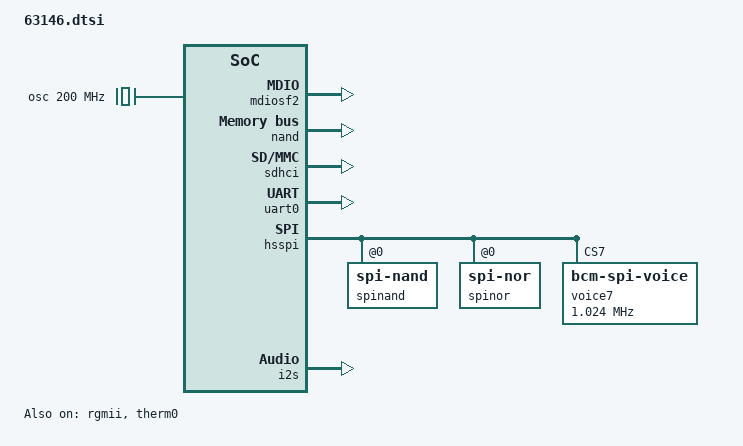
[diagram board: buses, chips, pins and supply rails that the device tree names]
/dts-v1/;

#include "linux_autoconf.h"

/* bootstrap reserved memory */
#include "../boot_rsvdmem.dtsi"

/ {
	/* arch */
	#define PMU_CORE0_SPI	7
	#define PMU_CORE1_SPI	8
	#include "../ip/bcm_b53_dual.dtsi"

	/* clocks */
	#define PERIPH_CLK		200000000
	#define HS_SPI_PLL_CLK	200000000
	#include "../ip/bcm_clocks.dtsi"

	rdpa_drv {
		compatible = "brcm,rdpa";
		reg = <0x0 0x82000000 0x0 0xCAF004>;
                interrupts = <GIC_SPI 107 IRQ_TYPE_LEVEL_HIGH>, /* INTERRUPT_XRDP_FPM */
                             <GIC_SPI 75  IRQ_TYPE_LEVEL_HIGH>, /* INTERRUPT_XRDP_QUEUE_0 */
                             <GIC_SPI 76  IRQ_TYPE_LEVEL_HIGH>, /* INTERRUPT_XRDP_QUEUE_1 */
                             <GIC_SPI 77  IRQ_TYPE_LEVEL_HIGH>, /* INTERRUPT_XRDP_QUEUE_2 */
                             <GIC_SPI 78  IRQ_TYPE_LEVEL_HIGH>, /* INTERRUPT_XRDP_QUEUE_3 */
                             <GIC_SPI 79  IRQ_TYPE_LEVEL_HIGH>, /* INTERRUPT_XRDP_QUEUE_4 */
                             <GIC_SPI 80  IRQ_TYPE_LEVEL_HIGH>, /* INTERRUPT_XRDP_QUEUE_5 */
                             <GIC_SPI 81  IRQ_TYPE_LEVEL_HIGH>, /* INTERRUPT_XRDP_QUEUE_6 */
                             <GIC_SPI 82  IRQ_TYPE_LEVEL_HIGH>, /* INTERRUPT_XRDP_QUEUE_7 */
                             <GIC_SPI 83  IRQ_TYPE_LEVEL_HIGH>, /* INTERRUPT_XRDP_QUEUE_8 */
                             <GIC_SPI 84  IRQ_TYPE_LEVEL_HIGH>, /* INTERRUPT_XRDP_QUEUE_9 */
                             <GIC_SPI 85  IRQ_TYPE_LEVEL_HIGH>, /* INTERRUPT_XRDP_QUEUE_10 */
                             <GIC_SPI 86  IRQ_TYPE_LEVEL_HIGH>, /* INTERRUPT_XRDP_QUEUE_11 */
                             <GIC_SPI 87  IRQ_TYPE_LEVEL_HIGH>, /* INTERRUPT_XRDP_QUEUE_12 */
                             <GIC_SPI 88  IRQ_TYPE_LEVEL_HIGH>, /* INTERRUPT_XRDP_QUEUE_13 */
                             <GIC_SPI 89  IRQ_TYPE_LEVEL_HIGH>, /* INTERRUPT_XRDP_QUEUE_14 */
                             <GIC_SPI 90  IRQ_TYPE_LEVEL_HIGH>, /* INTERRUPT_XRDP_QUEUE_15 */
                             <GIC_SPI 91  IRQ_TYPE_LEVEL_HIGH>, /* INTERRUPT_XRDP_QUEUE_16 */
                             <GIC_SPI 92  IRQ_TYPE_LEVEL_HIGH>, /* INTERRUPT_XRDP_QUEUE_17 */
                             <GIC_SPI 93  IRQ_TYPE_LEVEL_HIGH>, /* INTERRUPT_XRDP_QUEUE_18 */
                             <GIC_SPI 94  IRQ_TYPE_LEVEL_HIGH>, /* INTERRUPT_XRDP_QUEUE_19 */
                             <GIC_SPI 95  IRQ_TYPE_LEVEL_HIGH>, /* INTERRUPT_XRDP_QUEUE_20 */
                             <GIC_SPI 96  IRQ_TYPE_LEVEL_HIGH>, /* INTERRUPT_XRDP_QUEUE_21 */
                             <GIC_SPI 97  IRQ_TYPE_LEVEL_HIGH>, /* INTERRUPT_XRDP_QUEUE_22 */
                             <GIC_SPI 98  IRQ_TYPE_LEVEL_HIGH>, /* INTERRUPT_XRDP_QUEUE_23 */
                             <GIC_SPI 99  IRQ_TYPE_LEVEL_HIGH>, /* INTERRUPT_XRDP_QUEUE_24 */
                             <GIC_SPI 100 IRQ_TYPE_LEVEL_HIGH>, /* INTERRUPT_XRDP_QUEUE_25 */
                             <GIC_SPI 101 IRQ_TYPE_LEVEL_HIGH>, /* INTERRUPT_XRDP_QUEUE_26 */
                             <GIC_SPI 102 IRQ_TYPE_LEVEL_HIGH>, /* INTERRUPT_XRDP_QUEUE_27 */
                             <GIC_SPI 103 IRQ_TYPE_LEVEL_HIGH>, /* INTERRUPT_XRDP_QUEUE_28 */
                             <GIC_SPI 104 IRQ_TYPE_LEVEL_HIGH>, /* INTERRUPT_XRDP_QUEUE_29 */
                             <GIC_SPI 105 IRQ_TYPE_LEVEL_HIGH>, /* INTERRUPT_XRDP_QUEUE_30 */
                             <GIC_SPI 106 IRQ_TYPE_LEVEL_HIGH>; /* INTERRUPT_XRDP_QUEUE_31 */
                interrupt-names = "fpm", "queue0", "queue1", "queue2", "queue3", "queue4", "queue5",
                          "queue6", "queue7", "queue8", "queue9", "queue10", "queue11", 
                          "queue12", "queue13", "queue14", "queue15", "queue16", "queue17",
                          "queue18", "queue19", "queue20", "queue21", "queue22", "queue23",
                          "queue24", "queue25", "queue26", "queue27", "queue28", "queue29",
                          "queue30", "queue31";
	};

	/* broadcom memory reservations */
	#include "../bcm_rsvdmem.dtsi"

	/* memc */
	memory_controller {
		#define BP_DDR_63146_DEFAULT	BP_DDR_SSC_CONFIG_1

		#define MEMC_REG_NAMES	"memc-int-clear-reg",	\
					"memc-int-mask-clear-reg",\
					"phyctl_idle_pad_ctl",	\
					"phyctl_idle_pad_en0",	\
					"phyctl_idle_pad_en1",	\
					"phybl0_idle_pad_ctl",	\
					"phybl1_idle_pad_ctl",	\
					"phybl0_clock_idle",	\
					"phybl1_clock_idle",	\
					"auto_self_refresh",	\
					"glb_gcfg"

		#define MEMC_REG	<0 0x80040E28 0 4>,	\
					<0 0x80040E34 0 4>,	\
					<0 0x80060200 0 4>,	\
					<0 0x80060204 0 4>,	\
					<0 0x80060208 0 4>,	\
					<0 0x8006071c 0 4>,	\
					<0 0x8006091c 0 4>,	\
					<0 0x8006073c 0 4>,	\
					<0 0x8006093c 0 4>,	\
					<0 0x8004000c 0 4>,	\
					<0 0x80040008 0 4>

		#define MEMC_CPU_INT_LINE	19

		#include "../ip/memc.dtsi"
	};

	aliases {
		serial0 = &uart0;
		serial1 = &uart1;
		spi1 = &hsspi; /* 0 = legacy, 1 = high speed */
		spinor0 = &spinor;		
		spinand0 = &spinand;
		nand0 = &nand;
		hs_serial0 = &hs_uart0;
	};

	chosen {
		stdout-path = "serial0:115200n8";
		/* increase coherent_pool size */
		bootargs = "coherent_pool=4M cpuidle_sysfs_switch pci=pcie_bus_safe console=ttyAMA0,115200  rootwait rng_core.default_quality=1024";
	};


	misc_io {
		compatible = "brcm,misc-io";
		misc-periph-int-ctrl = <0x0 0xFF80260C 0x0 0x4>;
		sdio-emmc-clk-sel-mask = <0x00010000>;
		misc-emmc-cktap-ctrl = <0x0 0xFF80264C 0x0 0x18>;

		misc-periph-chip-id-rev = <0x0 0xff800000 0x0 0x4>;
		misc-periph-chip-id-mask = <0xfffff000>;
		misc-periph-chip-id-shift = <12>;
		misc-periph-chip-rev-mask = <0xfff>;
	};

	/* PMC */
	pmc: pmc {
		#define PMC_REG_OFFSET              0x0 0xffb01018
		#define PMC_REG_SIZE                0x0 0x5080
		#define PROCMON_REG_OFFSET          0x0 0xffb20000
		#define PROCMON_REG_SIZE            0x0 0x240
		#define MAESTRO_REG_OFFSET          0x0 0xffb00400
		#define MAESTRO_REG_SIZE            0x0 0x5d0
		#define MAESTRO_DTCM_REG_OFFSET     0x0 0xffb80000
		#define MAESTRO_DTCM_REG_SIZE       0x0 0x1000
		#define MAESTRO_ITCM_REG_OFFSET     0x0 0xffbc0000
		#define MAESTRO_ITCM_REG_SIZE       0x0 0x4000
		#include "../ip/bcm_pmc_3_2.dtsi"
		interrupt-names = "pmc-temp-irq";
		interrupts = <GIC_SPI 29 IRQ_TYPE_LEVEL_HIGH>;
	};

	cci: cci {
		#define CCI_OFFSET					0x0 0x81100000
		#define CCI_SIZE					0x0 0x8000
		#define SLAVEINTF_CPU_NUM			1
		#include "../ip/bcm_arm_cci500.dtsi"
	};

#if defined(CONFIG_BCM_PCIE_HCD) || defined(CONFIG_BCM_PCIE_HCD_MODULE)
	/* pcie common */
	pcie: pcie {
		compatible = "brcm,bcm-pcie";
		device_type = "cpci";
		brcm,pllclkid = <0x210>;
	};

	/* pcie core 0 */
	pcie0: pcie@0 {
		#define PCIE_ID				0
		#define PCIE_SPI			69
		#define PCIE_ADDR			0x80110000
		#define PCIE_SIZE			0x0000A000
		#define PCIE_RANGE_ADDR		0xC0000000
		#define PCIE_RANGE_SIZE		0x10000000
		#include "../ip/bcm_pcie_core.dtsi"
		brcm,strap-pcie-rc-mode=<6 1>;
	};
	/* pcie core 1 */
	pcie1: pcie@1 {
		#define PCIE_ID			 	1
		#define PCIE_SPI			70
		#define PCIE_ADDR			0x80120000
		#define PCIE_SIZE			0x0000A000
		#define PCIE_RANGE_ADDR		0xD0000000
		#define PCIE_RANGE_SIZE		0x10000000
		#include "../ip/bcm_pcie_core.dtsi"
	};
	/* pcie core 2 */
	pcie2: pcie@2 {
		#define PCIE_ID			 	2
		#define PCIE_SPI			71
		#define PCIE_ADDR			0x80130000
		#define PCIE_SIZE			0x0000A000
		#define PCIE_RANGE_ADDR		0xE0000000
		#define PCIE_RANGE_SIZE		0x10000000
		#include "../ip/bcm_pcie_core.dtsi"
	};
#endif /* defined(CONFIG_BCM_PCIE_HCD) || defined(CONFIG_BCM_PCIE_HCD_MODULE) */

	/* usb */
	usb_ctrl: usb_ctrl {
		#define USB_CTRL_ADDR       0x0 0x8010f200
		#define USB_CTRL_SIZE       0x0 0x128
		#include "../ip/bcm_usb_ctrl.dtsi"
	};

	usb0_xhci: usb0_xhci {
		#define USB_ADDR            0x0 0x80100000
		#define USB_SIZE            0x0 0x484
		#define GBL_ADDR            0x0 0x8010C100
		#define GBL_SIZE            0x0 0x544
		#define USB_IRQ             73
		#include "../ip/bcm_usb_xhci.dtsi"
		xhci-no-companion;
	};

	serdes {
		compatible = "brcm,serdes1";
		reg = <0x0 0x837ff500 0x0 0x200>;
	};

	swblks {
		compatible = "brcm,swblks";
		reg-names = "bcast-ctrl",
					"qphy-ctrl",
					"sphy-ctrl";

		reg = 	<0 0x837ff000 0 0x4>,
				<0 0x837ff014 0 0x4>,
				<0 0x837ff024 0 0x4>;
		phy_base = <0x1>;
	};

	unimac {
		compatible = "brcm,unimac3";
		reg = <0x0 0x828a8000 0x0 0x8000>,
		      <0x0 0x828b0000 0x0 0x2000>;
		conf_offset = <0x1000>;
		mib_offset = <0x400>;
		top_offset = <0x400>;
	};

	egphy {
		compatible = "brcm,egphy";
		reg = <0x0 0x837FF00C 0x0 0x20>;
	};

	mdiosf2 {
		compatible = "brcm,mdio-sf2";
		reg = <0x0 0x837FFD00 0x0 0x10>,
		      <0x0 0xff85a024 0x0 0x4>;
	};

	rgmii: rgmii {
		compatible = "brcm,rgmii2";
		reg = <0x0 0x837ff184 0x0 0x44>,
		      <0x0 0xff800500 0x0 0x78>;
	};

	mpm {
		#define MPM_REG_OFFSET	0x80020000
		#define MPM_REG_SIZE	0x4000
		#include "../ip/bcm_mpm.dtsi"
	};

	xrdp {
		compatible = "simple-bus";
		#address-cells = <2>;
		#size-cells = <2>;
		ranges = <0x0 0x0 0x0 0x82000000 0x0 0xcd0000
			  0x1 0x0 0x0 0xff800000 0x0 0x62000>;

		mdio: mdio {
			compatible = "simple-bus";
			bus-type = "DSL_ETHSW";

			#address-cells = <1>;
			#size-cells = <0>;

			/* Port PHY mapping:
			 * port_gphy0 <----> phy_gphy0
			 * port_gphy1 <----> phy_gphy1
			 * port_gphy2 <----> phy_gphy2
			 * port_gphy3 <----> phy_gphy3
			 * port_gphy4 <----> phy_gphy4
			 * port_rgmii <----> phy_rgmii
			 * port_sgmii0 <---> phy_serdes0
			 * port_sgmii1 <---> phy_serdes1
			 */
			phy_gphy0:phy_gphy0 {
				compatible = "brcm,bcaphy";
				phy-type = "EGPHY";
				reg = <1>;
				status = "disabled";
			};

			phy_gphy1:phy_gphy1 {
				compatible = "brcm,bcaphy";
				phy-type = "EGPHY";
				reg = <2>;
				status = "disabled";
			};

			phy_gphy2:phy_gphy2 {
				compatible = "brcm,bcaphy";
				phy-type = "EGPHY";
				reg = <3>;
				status = "disabled";
			};

			phy_gphy3:phy_gphy3 {
				compatible = "brcm,bcaphy";
				phy-type = "EGPHY";
				reg = <4>;
				status = "disabled";
			};

			phy_gphy4:phy_gphy4 {
				compatible = "brcm,bcaphy";
				phy-type = "EGPHY";
				reg = <5>;
				status = "disabled";
			};

			phy_rgmii:phy_rgmii {
				compatible = "brcm,bcaphy";
				phy-type = "EGPHY";
				reg = <25>;
				status = "disabled";
				phy-external;
			};

			phy_serdes0:phy_serdes0 {
				compatible = "brcm,bcaphy";
				phy-type = "2.5GAE";
				reg = <6>;
				serdes-core = <0>;
				serdes-lane = <0>;
				status = "disabled";
			};

			phy_cascade1:phy_cascade1 {
				compatible = "brcm,bcaphy";
				phy-type = "EXT3";
				reg = <12>;
				status = "disabled";
				phy-external;
			};

			phy_serdes1:phy_serdes1 {
				compatible = "brcm,bcaphy";
				phy-type = "2.5GAE";
				reg = <7>;
				serdes-core = <1>;
				serdes-lane = <0>;
				status = "disabled";
			};
		};

		switch0: switch0 {
		};
	};

	/* UBUS */
	ubus: ubus {
		compatible = "simple-bus";
		#address-cells = <2>;
		#size-cells = <2>;
		ranges;

		ubus_sys: ubus_sys {
			#address-cells = <2>;
			#size-cells = <2>;
			#define UBUS_SYSTOP_OFFSET         0x0 0x83000000
			#define UBUS_SYSTOP_SIZE           0x0 0x80
			#define UBUS_REGISTRATION_OFFSET   0x0 0x83000200
			#define UBUS_REGISTRATION_SIZE     0x0 0x80
			#define UBUS_COHERENCY_PORT_OFFSET 0x0 0x810A0400
			#define UBUS_COHERENCY_PORT_SIZE   0x0 0x400
			#define UBUS_MODULE_XRDP           0x0
			#include "../ip/bcm_ubus4.dtsi"
			ubus_mst_sys: ubus_mst {
				reg-names = "BIU", "PER", "USB", "DSL",
					"DSLCPU", "PCIE0", "PCIE1", "PCIE2",
					"DMA0", "DMA1", "RQ0", "QM",
					"MPM";
				reg = <0x0 0x83020000 0x0 0x4000>,
					<0x0 0x83010000 0x0 0x4000>,
					<0x0 0x83018000 0x0 0x4000>,
					<0x0 0x83048000 0x0 0x4000>,
					<0x0 0x83050000 0x0 0x4000>,
					<0x0 0x83028000 0x0 0x4000>,
					<0x0 0x83030000 0x0 0x4000>,
					<0x0 0x83038000 0x0 0x4000>,
					<0x0 0x83060000 0x0 0x4000>,
					<0x0 0x83068000 0x0 0x4000>,
					<0x0 0x83058000 0x0 0x4000>,
					<0x0 0x83070000 0x0 0x4000>,
					<0x0 0x83080000 0x0 0x4000>;
			};
		};

		ubus_dcm_sys: ubus_dcm_sys {
			#define UBUS_DCM_CLK_OFFSET  0x0 0x83000080
			#define UBUS_DCM_CLK_SIZE    0x0 0x80
			#define UBUS_MODULE_XRDP     0x0
			#include "../ip/bcm_ubus4_dcm.dtsi"
		};
	};

	/* Legacy UBUS base */
	periph {
		compatible = "simple-bus";
		#address-cells = <2>;
		#size-cells = <2>;
		ranges = <0x0 0x0 0x0 0xff800000 0x0 0x62000>;

		/* boot state */
		boot_state: boot_state {
			#define RESET_REASON_OFFSET	0x0 0x2628
			#define RESET_REASON_SIZE	0x0 0x4
			#define RESET_STATUS_OFFSET	0x0 0x5a01c
			#define RESET_STATUS_SIZE	0x0 0x4
			#include "../ip/bcm_boot_state_v2.dtsi"
		};

		nand: nand {
			pinctrl-0 = <&data_pins &nand_ctrl_pins>;
			pinctrl-names = "default";	
			#define NAND_CTRL_OFFSET		0x0 0x1800
			#define NAND_CTRL_SIZE			0x0 0x400
			#define NAND_INTR_OFFSET		0x0 0x2000
			#define NAND_INTR_SIZE			0x0 0x10
			#define NAND_CACHE_OFFSET		0x0 0x1C00
			#define NAND_CACHE_SIZE			0x0 0x200
			#include "../ip/bcm_nand7_1.dtsi"
		};
		/* EMMC */
		sdhci: sdhci {
			pinctrl-0 = <&emmc_ctrl_pins>;
			pinctrl-names="default";
			#define SDHCI_OFFSET			0x00000000 0x10000
			#define SDHCI_SIZE			0x00000000 0x100
			#define SDHCI_TOPCFG_OFFSET		0x00000000 0x10100
			#define SDHCI_TOPCFG_SIZE		0x00000000 0x100
			#define SDHCI_BOOT_OFFSET		0x00000000 0x10200
			#define SDHCI_BOOT_SIZE			0x00000000 0x40
			#define SDHCI_AHBSS_CTRL_OFFSET		0x00000000 0x10300
			#define SDHCI_AHBSS_CTRL_SIZE		0x00000000 0x100
			#define SDHCI_HS200_BASE_CLOCK_FREQ	180000000
			#define SDIO_EMMC_SPI			38
			#include "../ip/bcm_sdhci.dtsi"
			mmc-ddr-3_3v;
			sdhci-pll-baseclk-mhz = <5000>;
			sdhci-pll-valid-op-mhz = <100 125 147 180 185 200>;
		};

		rng: rng {
			#define RNG200_OFFSET                   0x00000000 0xb80
			#define RNG200_SIZE                     0x00000000 0x30
			#include "../ip/bcm_rng200.dtsi"
		};

		trng: trng {
			#define TRNG_OFFSET                   0x00000000 0x3800
			#define TRNG_SIZE                     0x00000000 0x0800
			#include "../ip/bcm_trng.dtsi"
			status = "disabled";
		};

		strap: strap {
			#define STRAP_REG_OFFSET            0x0 0x2600
			#define STRAP_REG_SIZE              0x0 0x4
			#include "../ip/bcm_strap.dtsi"
			boot-select-0=<0 1>;
			boot-select-1=<1 1>;
			boot-select-2=<2 1>;
			boot-select-3=<3 1>;
			boot-select-4=<4 1>;
			boot-select-5=<5 1>;
			bootrom-boot=<12 1>;
		};

		dying_gasp: dying_gasp {
			#define DG_IRQ_MASK_REG_OFFSET	0x0 0x5A004
			#define DG_IRQ_MASK_REG_SIZE	0x0 0x4
			#define DG_UART_DR_OFFSET	0x0 0x12000
			#define DG_UART_DR_SIZE		0x0 0x4
			#include "../ip/bcm_dgasp_pmc.dtsi"
			reinit-hw-irqenable = <1>;
			interrupts = <GIC_SPI 28 IRQ_TYPE_LEVEL_HIGH>;
		};

		otp: otp {
			#define OTP_REG_OFFSET            0x0 0x2800
			#define OTP_REG_SIZE              0x0 0x64
			#include "../ip/bcm_otp.dtsi"
		};

		/* pinctrl */
		pincontroller: pinctrl {
			#define PINCTRL_OFFSET       0x0 0x554
			#define PINCTRL_SIZE         0x0 0xc
			#define PINCTRL_NUM_PINS     126
			#define PINCTRL_NUM_FUNC     8
			#define PINCTRL_GPIO_FUNC    4
			#include "../ip/bcm_bca_pinctrl.dtsi"
			#include "63146_pinctrl.dtsi"
		};

		/* gpio */
		gpioc: gpioc {
			#define GPIO_DIR_OFFSET      0x0 0x500
			#define GPIO_DIR_SIZE        0x0 0x20
			#define GPIO_DATA_OFFSET     0x0 0x520
			#define GPIO_DATA_SIZE       0x0 0x20
			#define NUM_OF_GPIOS         88
			#include "../ip/bcm_bca_gpio.dtsi"
		};

		/* external interrups */
		bca_extintr: bca_extintr0 {
			#define EXTINTR_OFFSET       0x0 0x4
			#define EXTINTR_SIZE         0x0 0x48
			#define MAX_EXT_INTR         8
			#include "../ip/bcm_bca_extintr.dtsi"
			external_interrupts = <47 48 49 50 51 52 53 54>;
		};

		/* UART 1*/
		uart0: serial0 {
			#define UART_OFFSET			0x0 0x12000
			#define UART_SIZE			0x0 0x1000
			#define UART_SPI			32
			#define UART_CLK_LABEL			refclk50mhz
			#define UART_CLK			50000000
			#include "../ip/bcm_arm_uart.dtsi"
		};

		uart1: serial1 {
			#define UART_OFFSET			0x0 0x13000
			#define UART_SIZE			0x0 0x1000
			#define UART_SPI			33
			#define UART_CLK_LABEL			refclk50mhz
			#define UART_CLK			50000000
			#include "../ip/bcm_arm_uart.dtsi"
		};


		hs_uart0: hs_serial0 {
			#define UART_OFFSET			0x0 0x10400
			#define UART_SIZE			0x0 0x1E0
			#define UART_SPI 			34
			#include "../ip/bcm_hs_uart.dtsi"
		};

		/* HS SPI */
		hsspi: spi {
			pinctrl-0 = <&spim_group_pins>;
			pinctrl-names = "default";
			#define HS_SPI_OFFSET			0x0 0x1000
			#define HS_SPI_SIZE			0x0 0x600
			#define HS_SPI_MAX_FREQ			50000000
			/* #define HS_SPIM_SPI			36 */
			#include "../ip/bcm_hsspi.dtsi"
			spinand: spi-nand@0 {
				pinctrl-0 = <&hs_spim_ss_0_b_pin_36>;
				pinctrl-names = "default";
				#define SPINAND_MAX_FREQ	50000000
				#include "../ip/bcm_spinand.dtsi"
			};
			spinor: spi-nor@0 {
				pinctrl-0 = <&hs_spim_ss_0_b_pin_36>;
				pinctrl-names = "default";
				#define SPINOR_MAX_FREQ	50000000
				#include "../ip/bcm_spinor.dtsi"
			};
			voice7 {
				pinctrl-0 = <&pcm_sdin_pin_80 &pcm_sdout_pin_81 &pcm_clk_pin_85 &pcm_fs_pin_82>;
				pinctrl-names = "default";
				compatible = "bcm-spi-voice";
				reg = <7>; /* chip select 7 */
				spi-index = <7>;/* ZSI/ISI header position index */
				spi-max-frequency = <1024000>;
			};
		};

		bcm63xx-apm-pcm {
			compatible = "brcm,bcm63xx-apm-pcm";
			reg = <0x0 0x60000 0x0 0x1c60>;
			interrupts = <GIC_SPI 41 IRQ_TYPE_LEVEL_HIGH>;
		};

		i2c0: i2c0 {
			#define I2C_OFFSET			0x0 0x2100
			#define I2C_SIZE			0x0 0x60
			#include "../ip/bcm_i2c_bus.dtsi"
		};

		i2c1: i2c1 {
			#define I2C_OFFSET			0x0 0x5a800
			#define I2C_SIZE			0x0 0x60
			#include "../ip/bcm_i2c_bus.dtsi"
		};

		i2s: bcm63xx-i2s {
			compatible = "brcm,bcm63xx-i2s";
			reg = <0x0 0x2080 0x0 0x7f>;
			interrupts = <GIC_SPI 44 IRQ_TYPE_LEVEL_HIGH>;
			clocks = <&i2stxclk>,<&i2srxclk>,<&osc>;
			clock-names = "i2stxclk","i2srxclk","i2sosc";
		};

		/* periph timers */
		timers: timers {
			#define TIMERS_OFFSET		0x0 0x400
			#define TIMERS__SIZE		0x0 0x48
			#define TIMER0_SPI			11
			#define TIMER1_SPI			12
			#define TIMER2_SPI			13
			#define TIMER3_SPI			14
			#include "../ip/bcm_timer.dtsi"
		};

		/* watchdog */
		wdt: watchdog {
			#define WATCHDOG_OFFSET			0x0 0x480
			#define WATCHDOG_SIZE			0x0 0x10
			#define WATCHDOG_TIMEOUT		80
			#include "../ip/bcm_wdt.dtsi"
			interrupts = <GIC_SPI 16 IRQ_TYPE_LEVEL_HIGH>;
		};

		/* watchdog reboot */
		wdt-reboot {
			compatible = "wdt-reboot";
			wdt = <&wdt>;
		};

		/* Led Controller */
		led_ctrl: led_ctrl {
			#define CLED_GLBL_CTRL_OFFSET           0x0 0x3000
			#define CLED_GLBL_CTRL_SIZE             0x0 0x4
			#define CLED_HW_EN_OFFSET               0x0 0x3004
			#define CLED_HW_EN_SIZE                 0x0 0x4
			#define CLED_SER_SHIFT_OFFSET           0x0 0x3008
			#define CLED_SER_SHIFT_SIZE             0x0 0x4
			#define CLED_HW_POLARITY_OFFSET         0x0 0x300c
			#define CLED_HW_POLARITY_SIZE           0x0 0x4
			#define CLED_SW_SET_OFFSET              0x0 0x3010
			#define CLED_SW_SET_SIZE                0x0 0x4
			#define CLED_SW_POLARITY_OFFSET         0x0 0x3014
			#define CLED_SW_POLARITY_SIZE           0x0 0x4
			#define CLED_CH_ACTIVATE_OFFSET         0x0 0x301c
			#define CLED_CH_ACTIVATE_SIZE           0x0 0x4
			#define CLED_XX_CONFIG_OFFSET           0x0 0x3020
			#define CLED_XX_CONFIG_SIZE             0x0 0x200
			#define CLED_SW_CLEAR_OFFSET            0x0 0x3444
			#define CLED_SW_CLEAR_SIZE              0x0 0x4
			#define CLED_SW_STATUS_OFFSET           0x0 0x3448
			#define CLED_SW_STATUS_SIZE             0x0 0x4
			#define CLED_OUT_MUX_OFFSET             0x0 0x3460
			#define CLED_OUT_MUX_SIZE               0x0 0x20
			#define CLED_SERIAL_POLARITY_OFFSET     0x0 0x3454
			#define CLED_SERIAL_POLARITY_SIZE       0x0 0x4
			#define CLED_PARALLEL_POLARITY_OFFSET   0x0 0x3018
			#define CLED_PARALLEL_POLARITY_SIZE     0x0 0x4
			#define MAX_SUPPORTED_LEDS              32

			status = "okay";
			#include "../ip/bcm_cled_ctrl.dtsi"
			#include "63146_leds.dtsi"
		};

		/* sotp */
		sotp {
			#define SOTP_OFFSET			0x0 0x5000
			#define SOTP_SIZE			0x0 0x500
			#include "../ip/bcm_sotp_skp.dtsi"
		};
	};

	legacy_leds: legacy_leds {
		compatible = "brcm,legacy-led";
	};

	vreg_sync: vreg_sync {
		compatible = "brcm,vreg-sync";
	};
		
	therm0: brcm-therm {
		compatible = "brcm,therm";
		reg-names="bac_cpu_therm_temp";
		reg = <0 0x8106037c 0 0x04>;
		status = "okay";
	};

	ephyled {
		compatible = "brcm,ephy-led";
		led_reg_max = <0x8>;
		reg-names = "aggregate_ctrl", "led_reg_0", "led_reg_1", "led_reg_2", "led_reg_3", "led_reg_4", "led_reg_5", "led_reg_6", "led_reg_7";
		reg = <0 0x837FF17C  0 0x4>, <0 0x837FF108 0 0xc>, <0 0x837FF114 0 0xc>, <0 0x837FF120 0 0xc>, <0 0x837FF12C 0 0xc>, <0 0x837FF138 0 0xc>, <0 0x837FF144 0 0xc>, <0 0x837FF150 0 0xc>, <0 0x837FF15C 0 0xc>;
	};

	dsl:dsl {
		#define DSL_LINE_0
		#define DSL_LINE_1
		#include "../ip/bcm_dsl.dtsi"
	};

	sar:sar {
		#define SAR_OFFSET   0x0 0x80600000
		#define SAR_SIZE     0x0 0x4000
		#define TXPAF_OFFSET 0x0 0x80757800
		#define TXPAF_SIZE   0x0 0x4
		#define SAR_CLK_FREQ "500000000"
		#include "../ip/bcm_sar.dtsi"
	};

	dsl_ctrl: dsl_ctrl {
		#define DSL_PHY_OFFSET		0x0 0x80750000
		#define DSL_PHY_SIZE		0x0 0x20000
		#define DSL_LMEM_OFFSET		0x0 0x80800000
		#define DSL_LMEM_SIZE		0x0 0xe0000
		#define DSL_XMEM_OFFSET		0x0 0x809A0000
		#define DSL_XMEM_SIZE		0x0 0x660000
		#define DSL_SPI				67
		#include "../ip/bcm_dsl_ctrl.dtsi"
	};
};

&nand {
	status = "okay";
};
&uart0 {
	status = "okay";
};
&wdt {
	status = "okay";
};
&sdhci {
	status = "okay";
};
&hsspi {
	status = "okay";
};
&spinand {
	status = "okay";
};
&rgmii {
	status = "okay";
};
&sar {
   status = "okay";
};
&dsl_ctrl {
	status = "okay";
};
&switch0 {
	compatible = "brcm,enet";
	label = "bcmsw";
	sw-type = "RUNNER_SW";

	ports {
		#address-cells = <1>;
		#size-cells = <0>;

		port_gphy0 {
			reg = <0>;
			mac-type = "UNIMAC";
			phy-handle = <&phy_gphy0>;
			phy-mode = "gmii";
			gmii-direct;
			status = "disabled";
		};

		port_gphy1 {
			reg = <1>;
			mac-type = "UNIMAC";
			phy-handle = <&phy_gphy1>;
			phy-mode = "gmii";
			gmii-direct;
			status = "disabled";
		};

		port_gphy2 {
			reg = <2>;
			mac-type = "UNIMAC";
			phy-handle = <&phy_gphy2>;
			phy-mode = "gmii";
			gmii-direct;
			status = "disabled";
		};

		port_gphy3 {
			reg = <3>;
			mac-type = "UNIMAC";
			phy-handle = <&phy_gphy3>;
			phy-mode = "gmii";
			gmii-direct;
			status = "disabled";
		};

		port_gphy4 {
			reg = <4>;
			mac-type = "UNIMAC";
			phy-handle = <&phy_gphy4>;
			phy-mode = "gmii";
			gmii-direct;
			status = "disabled";
		};

		port_rgmii {
			reg = <5>;
			mac-type = "UNIMAC";
			phy-handle = <&phy_rgmii>;
			phy-mode = "rgmii";
			status = "disabled";
		};

		port_sgmii0 {   /* aka LAN */
			reg = <6>;
			mac-type = "UNIMAC";
			phy-handle = <&phy_serdes0>;
			phy-mode = "serdes";
			status = "disabled";
		};

		port_sgmii1 {   /* aka AE/WAN */
			reg = <7>;
			mac-type = "UNIMAC";
			phy-handle = <&phy_serdes1>;
			phy-mode = "serdes";
			status = "disabled";
		};
	};
};
&clocks {
	#address-cells = <0x2>;
	#size-cells = <0x2>;
	i2s_clkmclk_syscon: i2s_clkmclk_syscon@0xFF802080 {
		compatible = "brcm,i2s-audio-clkmclk-syscon", "syscon";
		reg = <0x0 0xFF802080 0x0 0x80>;
	};
	osc: oscillator {
		#clock-cells = <0>;
		compatible = "fixed-clock";
		clock-frequency = <200000000>; /* xpon 200MHz output */
	};
	i2stxclk: i2stxclk@0x80158000 {
		#clock-cells = <0>;
		compatible = "brcm,i2s-tx-clock";
		clocks = <&osc>;
		clk-mclk-syscon        = <&i2s_clkmclk_syscon>;
		clock-tx-output-names  = "i2s_tx_clk";
	};

	i2srxclk: i2srxclk@0x80158000 {
		#clock-cells = <0>;
		compatible = "brcm,i2s-rx-clock";
		clocks = <&osc>;
		clk-mclk-syscon        = <&i2s_clkmclk_syscon>;
		clock-rx-output-names  = "i2s_rx_clk";
	};
};


